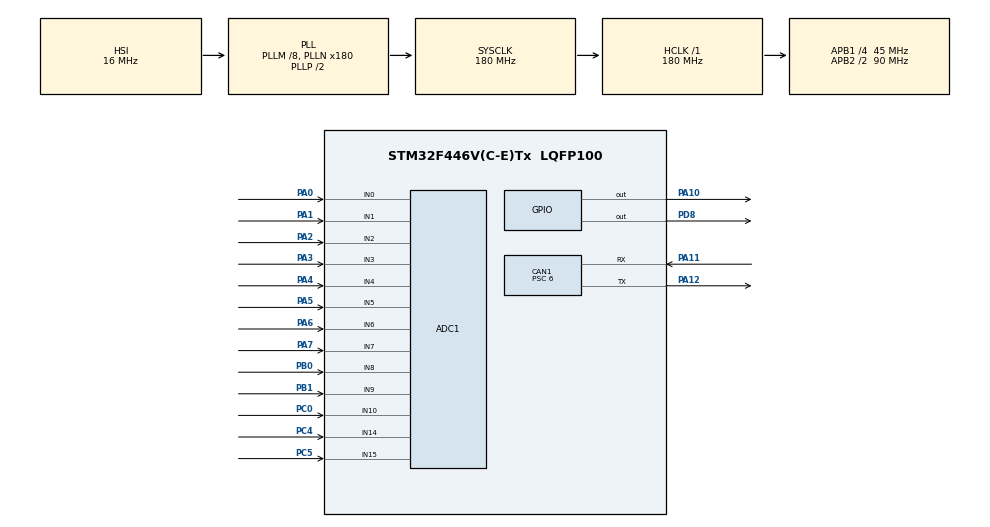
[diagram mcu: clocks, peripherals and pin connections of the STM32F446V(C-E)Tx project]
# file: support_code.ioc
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ADC1.Channel-0\#ChannelRegularConversion=ADC_CHANNEL_0
ADC1.Channel-1\#ChannelRegularConversion=ADC_CHANNEL_1
ADC1.Channel-10\#ChannelRegularConversion=ADC_CHANNEL_8
ADC1.Channel-11\#ChannelRegularConversion=ADC_CHANNEL_9
ADC1.Channel-12\#ChannelRegularConversion=ADC_CHANNEL_10
ADC1.Channel-2\#ChannelRegularConversion=ADC_CHANNEL_2
ADC1.Channel-3\#ChannelRegularConversion=ADC_CHANNEL_3
ADC1.Channel-4\#ChannelRegularConversion=ADC_CHANNEL_4
ADC1.Channel-5\#ChannelRegularConversion=ADC_CHANNEL_5
ADC1.Channel-6\#ChannelRegularConversion=ADC_CHANNEL_6
ADC1.Channel-7\#ChannelRegularConversion=ADC_CHANNEL_7
ADC1.Channel-8\#ChannelRegularConversion=ADC_CHANNEL_14
ADC1.Channel-9\#ChannelRegularConversion=ADC_CHANNEL_15
ADC1.ContinuousConvMode=ENABLE
ADC1.DMAContinuousRequests=ENABLE
ADC1.DiscontinuousConvMode=DISABLE
ADC1.EOCSelection=ADC_EOC_SEQ_CONV
ADC1.NbrOfConversion=13
ADC1.NbrOfConversionFlag=1
ADC1.Rank-0\#ChannelRegularConversion=1
ADC1.Rank-1\#ChannelRegularConversion=2
ADC1.Rank-10\#ChannelRegularConversion=11
ADC1.Rank-11\#ChannelRegularConversion=12
ADC1.Rank-12\#ChannelRegularConversion=13
ADC1.Rank-2\#ChannelRegularConversion=3
ADC1.Rank-3\#ChannelRegularConversion=4
ADC1.Rank-4\#ChannelRegularConversion=5
ADC1.Rank-5\#ChannelRegularConversion=6
ADC1.Rank-6\#ChannelRegularConversion=7
ADC1.Rank-7\#ChannelRegularConversion=8
ADC1.Rank-8\#ChannelRegularConversion=9
ADC1.Rank-9\#ChannelRegularConversion=10
ADC1.SamplingTime-0\#ChannelRegularConversion=ADC_SAMPLETIME_144CYCLES
ADC1.SamplingTime-1\#ChannelRegularConversion=ADC_SAMPLETIME_144CYCLES
ADC1.SamplingTime-10\#ChannelRegularConversion=ADC_SAMPLETIME_144CYCLES
ADC1.SamplingTime-11\#ChannelRegularConversion=ADC_SAMPLETIME_144CYCLES
ADC1.SamplingTime-12\#ChannelRegularConversion=ADC_SAMPLETIME_144CYCLES
ADC1.SamplingTime-2\#ChannelRegularConversion=ADC_SAMPLETIME_144CYCLES
ADC1.SamplingTime-3\#ChannelRegularConversion=ADC_SAMPLETIME_144CYCLES
ADC1.SamplingTime-4\#ChannelRegularConversion=ADC_SAMPLETIME_144CYCLES
ADC1.SamplingTime-5\#ChannelRegularConversion=ADC_SAMPLETIME_144CYCLES
ADC1.SamplingTime-6\#ChannelRegularConversion=ADC_SAMPLETIME_144CYCLES
ADC1.SamplingTime-7\#ChannelRegularConversion=ADC_SAMPLETIME_144CYCLES
ADC1.SamplingTime-8\#ChannelRegularConversion=ADC_SAMPLETIME_144CYCLES
ADC1.SamplingTime-9\#ChannelRegularConversion=ADC_SAMPLETIME_144CYCLES
ADC1.ScanConvMode=ENABLE
ADC1.master=1
CAN1.BS1=CAN_BS1_12TQ
CAN1.BS2=CAN_BS2_2TQ
CAN1.CalculateBaudRate=500000
CAN1.CalculateTimeBit=1999
CAN1.CalculateTimeQuantum=133.33333333333331
CAN1.Prescaler=6
Dma.ADC1.0.Direction=DMA_PERIPH_TO_MEMORY
Dma.ADC1.0.FIFOMode=DMA_FIFOMODE_DISABLE
Dma.ADC1.0.Instance=DMA2_Stream0
Dma.ADC1.0.MemDataAlignment=DMA_MDATAALIGN_HALFWORD
Dma.ADC1.0.MemInc=DMA_MINC_ENABLE
Dma.ADC1.0.Mode=DMA_CIRCULAR
Dma.ADC1.0.PeriphDataAlignment=DMA_PDATAALIGN_HALFWORD
Dma.ADC1.0.PeriphInc=DMA_PINC_DISABLE
Dma.ADC1.0.Priority=DMA_PRIORITY_LOW
Dma.Request0=ADC1
Mcu.Family=STM32F4
Mcu.Name=STM32F446V(C-E)Tx
Mcu.Package=LQFP100
NVIC.DMA2_Stream0_IRQn=true\:0\:0\:false\:false\:true\:false\:true\:true
NVIC.PriorityGroup=NVIC_PRIORITYGROUP_4
PA0-WKUP.Signal=ADCx_IN0
PA1.Signal=ADCx_IN1
PA10.Signal=GPIO_Output
PA11.Mode=CAN_Activate
PA11.Signal=CAN1_RX
PA12.Mode=CAN_Activate
PA12.Signal=CAN1_TX
PA13.Mode=JTAG_4_pins
PA13.Signal=SYS_JTMS-SWDIO
PA14.Mode=JTAG_4_pins
PA14.Signal=SYS_JTCK-SWCLK
PA15.Mode=JTAG_4_pins
PA15.Signal=SYS_JTDI
PA2.Signal=ADCx_IN2
PA3.Signal=ADCx_IN3
PA4.Signal=ADCx_IN4
PA5.Signal=ADCx_IN5
PA6.Signal=ADCx_IN6
PA7.Signal=ADCx_IN7
PB0.Signal=ADCx_IN8
PB1.Signal=ADCx_IN9
PB3.Mode=JTAG_4_pins
PB3.Signal=SYS_JTDO-SWO
PC0.Signal=ADCx_IN10
PC4.Signal=ADCx_IN14
PC5.Signal=ADCx_IN15
PD8.Signal=GPIO_Output
ProjectManager.HeapSize=0x200
ProjectManager.StackSize=0x400
ProjectManager.TargetToolchain=STM32CubeIDE
RCC.AHBFreq_Value=180000000
RCC.APB1CLKDivider=RCC_HCLK_DIV4
RCC.APB1Freq_Value=45000000
RCC.APB1TimFreq_Value=90000000
RCC.APB2CLKDivider=RCC_HCLK_DIV2
RCC.APB2Freq_Value=90000000
RCC.APB2TimFreq_Value=180000000
RCC.CortexFreq_Value=180000000
RCC.HCLKFreq_Value=180000000
RCC.PLLM=8
RCC.PLLN=180
RCC.SYSCLKFreq_VALUE=180000000
RCC.SYSCLKSource=RCC_SYSCLKSOURCE_PLLCLK
RCC.USBFreq_Value=180000000
RCC.VCOOutputFreq_Value=360000000
SH.ADCx_IN0.0=ADC1_IN0,IN0
SH.ADCx_IN1.0=ADC1_IN1,IN1
SH.ADCx_IN10.0=ADC1_IN10,IN10
SH.ADCx_IN14.0=ADC1_IN14,IN14
SH.ADCx_IN15.0=ADC1_IN15,IN15
SH.ADCx_IN2.0=ADC1_IN2,IN2
SH.ADCx_IN3.0=ADC1_IN3,IN3
SH.ADCx_IN4.0=ADC1_IN4,IN4
SH.ADCx_IN5.0=ADC1_IN5,IN5
SH.ADCx_IN6.0=ADC1_IN6,IN6
SH.ADCx_IN7.0=ADC1_IN7,IN7
SH.ADCx_IN8.0=ADC1_IN8,IN8
SH.ADCx_IN9.0=ADC1_IN9,IN9
board=custom

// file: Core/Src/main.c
/* USER CODE BEGIN Header */
/**
  ******************************************************************************
  * @file           : main.c
  * @brief          : Main program body
  ******************************************************************************
  * @attention
  *
  * Copyright (c) 2026 STMicroelectronics.
  * All rights reserved.
  *
  * This software is licensed under terms that can be found in the LICENSE file
  * in the root directory of this software component.
  * If no LICENSE file comes with this software, it is provided AS-IS.
  *
  ******************************************************************************
  */
/* USER CODE END Header */
#include "main.h"

ADC_HandleTypeDef hadc1;
DMA_HandleTypeDef hdma_adc1;

CAN_HandleTypeDef hcan1;

/* USER CODE BEGIN PV */
#define NTC_CHANNELS   13     // physical channel count per board
#define BOARD_ID       0      // 0-5, UNIQUE per board, sets CAN ID offset

/* NTC divider + ADC physical constants (R1=NTC->3.3V, R2=10k->GND) */
#define R25         10000.0f  // NTC resistance at 25C
#define BETA        3950.0f   // NTC beta coefficient
#define T25_K       298.15f   // 25C in Kelvin
#define R_FIXED     10000.0f  // fixed reference resistor (R2)
#define VREF        3.3f      // ADC reference voltage
#define ADC_MAX     4095.0f   // 12-bit ADC full scale

/*Global variables */
volatile uint16_t adc_vals[NTC_CHANNELS];
volatile int16_t temp_buffer_A[NTC_CHANNELS];   // ISR writes here (raw ADC counts)
volatile int16_t temp_buffer_B[NTC_CHANNELS];   // main loop's private snapshot

volatile uint16_t OT_TRIP_RAW       = 3155;  // over-temp trip threshold (raw ADC count)
volatile uint16_t OT_CLEAR_RAW      = 2854;  // over-temp hysteresis clear threshold
volatile uint16_t SENSOR_SHORT_RAW  = 50;    // near-0V -> open NTC / broken wire
volatile uint16_t SENSOR_OPEN_RAW   = 4045;  // near-3.3V -> shorted NTC / broken ref resistor

volatile uint8_t OT_DEBOUNCE_N     = 5;
volatile uint8_t SENSOR_DEBOUNCE_N = 1;

typedef enum {
    FAULT_NONE = 0,
    FAULT_OVERTEMP,
    FAULT_SENSOR_SHORT,   // reads near 0V
    FAULT_SENSOR_OPEN,    // reads near 3.3V
} fault_type_t;

volatile fault_type_t fault_latched_type[NTC_CHANNELS];  // latched fault, if any, per channel
volatile uint8_t      fault_debounce_count[NTC_CHANNELS]; // consecutive-sample counter, shared

#define FAULT_GPIO_Port   GPIOB
#define FAULT_GPIO_Pin    GPIO_PIN_0

/* USER CODE END PV */

void SystemClock_Config(void);
static void MX_GPIO_Init(void);
static void MX_DMA_Init(void);
static void MX_ADC1_Init(void);
static void MX_CAN1_Init(void);

/* USER CODE BEGIN 0 */

HAL_StatusTypeDef CAN_SendFault(uint8_t channel, fault_type_t type);

void HAL_ADC_ConvCpltCallback(ADC_HandleTypeDef *hadc)
{
    if (hadc->Instance != ADC1) return;

    for (uint8_t ch = 0; ch < NTC_CHANNELS; ch++)
    {
        uint16_t raw = adc_vals[ch];

        if (raw <= SENSOR_SHORT_RAW)
        {
            if (fault_debounce_count[ch] < SENSOR_DEBOUNCE_N)
                fault_debounce_count[ch]++;

            if (fault_debounce_count[ch] >= SENSOR_DEBOUNCE_N &&
                fault_latched_type[ch] == FAULT_NONE)
            {
                fault_latched_type[ch] = FAULT_SENSOR_SHORT;
                CAN_SendFault(ch, FAULT_SENSOR_SHORT);
            }
        }
        else if (raw >= SENSOR_OPEN_RAW)
        {
            if (fault_debounce_count[ch] < SENSOR_DEBOUNCE_N)
                fault_debounce_count[ch]++;

            if (fault_debounce_count[ch] >= SENSOR_DEBOUNCE_N &&
                fault_latched_type[ch] == FAULT_NONE)
            {
                fault_latched_type[ch] = FAULT_SENSOR_OPEN;
                CAN_SendFault(ch, FAULT_SENSOR_OPEN);
            }
        }
        else if (raw >= OT_TRIP_RAW)
        {
            if (fault_debounce_count[ch] < OT_DEBOUNCE_N)
                fault_debounce_count[ch]++;

            if (fault_debounce_count[ch] >= OT_DEBOUNCE_N &&
                fault_latched_type[ch] == FAULT_NONE)
            {
                fault_latched_type[ch] = FAULT_OVERTEMP;
                CAN_SendFault(ch, FAULT_OVERTEMP);
            }
        }
        else if (raw <= OT_CLEAR_RAW)
        {
            fault_debounce_count[ch] = 0;
        }

        temp_buffer_A[ch] = (int16_t)raw;
    }
}

HAL_StatusTypeDef CAN_SendFault(uint8_t channel, fault_type_t type)
{
    CAN_TxHeaderTypeDef tx_header;
    uint8_t tx_data[8] = {0};
    uint32_t tx_mailbox;

    tx_header.StdId = BOARD_ID;              // 0x000-0x005: dominant arbitration
    tx_header.IDE = CAN_ID_STD;
    tx_header.RTR = CAN_RTR_DATA;
    tx_header.DLC = 8;
    tx_header.TransmitGlobalTime = DISABLE;

    tx_data[0] = channel;                    // which of 13 channels faulted
    tx_data[1] = (uint8_t)type;               // fault type enum value

    if (HAL_CAN_GetTxMailboxesFreeLevel(&hcan1) == 0)
    {
        /* Mailbox full: correctness requirement is to NOT block here.
           TODO: implement retry-pending flag + retry on next cycle,
           rather than silently dropping (flagged as still open). */
        return HAL_ERROR;
    }

    return HAL_CAN_AddTxMessage(&hcan1, &tx_header, tx_data, &tx_mailbox);
}

void Fault_Reset(uint8_t channel)
{
    fault_latched_type[channel] = FAULT_NONE;
    fault_debounce_count[channel] = 0;
    /* No GPIO to manage - master decides all downstream action based on CAN fault frames */
}

static float ADC_ToTemperature(uint16_t adc_count)
{
    float v_out, r_ntc, temp_k;

    /* Guard against divide-by-zero / log(0) at the extremes */
    if (adc_count == 0) adc_count = 1;
    if (adc_count >= (uint16_t)ADC_MAX) adc_count = (uint16_t)ADC_MAX - 1;

    v_out = (adc_count * VREF) / ADC_MAX;

    /* R1 (NTC) -> 3.3V, R2 (fixed) -> GND, ADC reads the divider node:
       Vout = VREF * R2 / (R_ntc + R2)
       Rearranged for R_ntc: R_ntc = R2 * (VREF - Vout) / Vout */
    r_ntc = R_FIXED * (VREF - v_out) / v_out;

    /* Beta equation (simplified Steinhart-Hart) */
    temp_k = 1.0f / ((1.0f / T25_K) + (1.0f / BETA) * logf(r_ntc / R25));

    return temp_k - 273.15f;
}

static int16_t Temp_ToFixedPoint(float temp_c)
{
    float scaled = temp_c * 100.0f;

    if (scaled >= 0.0f)
        return (int16_t)(scaled + 0.5f);
    else
        return (int16_t)(scaled - 0.5f);
}

void Send_Telemetry_Frames(int16_t *raw_snapshot)
{
    CAN_TxHeaderTypeDef tx_header;
    uint8_t tx_data[8];
    uint32_t tx_mailbox;
    int16_t temp_fixed[NTC_CHANNELS];

    /* Convert all 13 raw ADC snapshots to fixed-point degC x100 */
    for (uint8_t i = 0; i < NTC_CHANNELS; i++)
    {
        float temp_c = ADC_ToTemperature((uint16_t)raw_snapshot[i]);
        temp_fixed[i] = Temp_ToFixedPoint(temp_c);
    }

    tx_header.IDE = CAN_ID_STD;
    tx_header.RTR = CAN_RTR_DATA;
    tx_header.TransmitGlobalTime = DISABLE;

    /* Frames 0-2: 4 channels each, big-endian int16 packing */
    for (uint8_t frame = 0; frame < 3; frame++)
    {
        for (uint8_t i = 0; i < 4; i++)
        {
            int16_t val = temp_fixed[frame * 4 + i];
            tx_data[2*i]     = (uint8_t)((val >> 8) & 0xFF);
            tx_data[2*i + 1] = (uint8_t)(val & 0xFF);
        }

        tx_header.StdId = 0x100 + (BOARD_ID * 0x10) + frame;
        tx_header.DLC = 8;

        if (HAL_CAN_GetTxMailboxesFreeLevel(&hcan1) > 0)
            HAL_CAN_AddTxMessage(&hcan1, &tx_header, tx_data, &tx_mailbox);
    }

    /* Frame 3: last channel only */
    {
        int16_t val = temp_fixed[12];
        tx_data[0] = (uint8_t)((val >> 8) & 0xFF);
        tx_data[1] = (uint8_t)(val & 0xFF);

        tx_header.StdId = 0x100 + (BOARD_ID * 0x10) + 3;
        tx_header.DLC = 2;

        if (HAL_CAN_GetTxMailboxesFreeLevel(&hcan1) > 0)
            HAL_CAN_AddTxMessage(&hcan1, &tx_header, tx_data, &tx_mailbox);
    }
}
/* USER CODE END 0 */

int main(void)
{

  /* MCU Configuration--------------------------------------------------------*/

  /* Reset of all peripherals, Initializes the Flash interface and the Systick. */
  HAL_Init();

  /* Configure the system clock */
  SystemClock_Config();

  /* Initialize all configured peripherals */
  MX_GPIO_Init();
  MX_DMA_Init();
  MX_ADC1_Init();
  MX_CAN1_Init();
  /* USER CODE BEGIN 2 */

  uint32_t last_tx_time = 0;

  HAL_ADC_Start_DMA(&hadc1, (uint32_t*)adc_vals, NTC_CHANNELS);

  /* USER CODE END 2 */

  /* Infinite loop */
  while (1)
  {

      if (HAL_GetTick() - last_tx_time >= 100)
      {
          last_tx_time = HAL_GetTick();

          /* Atomic snapshot - shortest possible critical section */
          __disable_irq();
          memcpy((void*)temp_buffer_B, (void*)temp_buffer_A, sizeof(temp_buffer_B));
          __enable_irq();

          /* Convert + pack + transmit telemetry - always, fault or not */
          Send_Telemetry_Frames(temp_buffer_B);
      }

      /* Room for other non-blocking background tasks here later,
         e.g. CAN error/bus-off monitoring, watchdog kick, etc. */

  }
}

void SystemClock_Config(void)
{
  RCC_OscInitTypeDef RCC_OscInitStruct = {0};
  RCC_ClkInitTypeDef RCC_ClkInitStruct = {0};

  /** Configure the main internal regulator output voltage
  */
  __HAL_RCC_PWR_CLK_ENABLE();
  __HAL_PWR_VOLTAGESCALING_CONFIG(PWR_REGULATOR_VOLTAGE_SCALE1);

  /** Initializes the RCC Oscillators according to the specified parameters
  * in the RCC_OscInitTypeDef structure.
  */
  RCC_OscInitStruct.OscillatorType = RCC_OSCILLATORTYPE_HSI;
  RCC_OscInitStruct.HSIState = RCC_HSI_ON;
  RCC_OscInitStruct.HSICalibrationValue = RCC_HSICALIBRATION_DEFAULT;
  RCC_OscInitStruct.PLL.PLLState = RCC_PLL_ON;
  RCC_OscInitStruct.PLL.PLLSource = RCC_PLLSOURCE_HSI;
  RCC_OscInitStruct.PLL.PLLM = 8;
  RCC_OscInitStruct.PLL.PLLN = 180;
  RCC_OscInitStruct.PLL.PLLP = RCC_PLLP_DIV2;
  RCC_OscInitStruct.PLL.PLLQ = 2;
  RCC_OscInitStruct.PLL.PLLR = 2;
  if (HAL_RCC_OscConfig(&RCC_OscInitStruct) != HAL_OK)
  {
    Error_Handler();
  }

  /** Activate the Over-Drive mode
  */
  if (HAL_PWREx_EnableOverDrive() != HAL_OK)
  {
    Error_Handler();
  }

  /** Initializes the CPU, AHB and APB buses clocks
  */
  RCC_ClkInitStruct.ClockType = RCC_CLOCKTYPE_HCLK|RCC_CLOCKTYPE_SYSCLK
                              |RCC_CLOCKTYPE_PCLK1|RCC_CLOCKTYPE_PCLK2;
  RCC_ClkInitStruct.SYSCLKSource = RCC_SYSCLKSOURCE_PLLCLK;
  RCC_ClkInitStruct.AHBCLKDivider = RCC_SYSCLK_DIV1;
  RCC_ClkInitStruct.APB1CLKDivider = RCC_HCLK_DIV4;
  RCC_ClkInitStruct.APB2CLKDivider = RCC_HCLK_DIV2;

  if (HAL_RCC_ClockConfig(&RCC_ClkInitStruct, FLASH_LATENCY_5) != HAL_OK)
  {
    Error_Handler();
  }
}

static void MX_ADC1_Init(void)
{

  ADC_ChannelConfTypeDef sConfig = {0};

  /** Configure the global features of the ADC (Clock, Resolution, Data Alignment and number of conversion)
  */
  hadc1.Instance = ADC1;
  hadc1.Init.ClockPrescaler = ADC_CLOCK_SYNC_PCLK_DIV4;
  hadc1.Init.Resolution = ADC_RESOLUTION_12B;
  hadc1.Init.ScanConvMode = ENABLE;
  hadc1.Init.ContinuousConvMode = ENABLE;
  hadc1.Init.DiscontinuousConvMode = DISABLE;
  hadc1.Init.ExternalTrigConvEdge = ADC_EXTERNALTRIGCONVEDGE_NONE;
  hadc1.Init.ExternalTrigConv = ADC_SOFTWARE_START;
  hadc1.Init.DataAlign = ADC_DATAALIGN_RIGHT;
  hadc1.Init.NbrOfConversion = 13;
  hadc1.Init.DMAContinuousRequests = ENABLE;
  hadc1.Init.EOCSelection = ADC_EOC_SEQ_CONV;
  if (HAL_ADC_Init(&hadc1) != HAL_OK)
  {
    Error_Handler();
  }

  /** Configure for the selected ADC regular channel its corresponding rank in the sequencer and its sample time.
  */
  sConfig.Channel = ADC_CHANNEL_0;
  sConfig.Rank = 1;
  sConfig.SamplingTime = ADC_SAMPLETIME_144CYCLES;
  if (HAL_ADC_ConfigChannel(&hadc1, &sConfig) != HAL_OK)
  {
    Error_Handler();
  }

  /** Configure for the selected ADC regular channel its corresponding rank in the sequencer and its sample time.
  */
  sConfig.Channel = ADC_CHANNEL_1;
  sConfig.Rank = 2;
  if (HAL_ADC_ConfigChannel(&hadc1, &sConfig) != HAL_OK)
  {
    Error_Handler();
  }

  /** Configure for the selected ADC regular channel its corresponding rank in the sequencer and its sample time.
  */
  sConfig.Channel = ADC_CHANNEL_2;
  sConfig.Rank = 3;
  if (HAL_ADC_ConfigChannel(&hadc1, &sConfig) != HAL_OK)
  {
    Error_Handler();
  }

  /** Configure for the selected ADC regular channel its corresponding rank in the sequencer and its sample time.
  */
  sConfig.Channel = ADC_CHANNEL_3;
  sConfig.Rank = 4;
  if (HAL_ADC_ConfigChannel(&hadc1, &sConfig) != HAL_OK)
  {
    Error_Handler();
  }

  /** Configure for the selected ADC regular channel its corresponding rank in the sequencer and its sample time.
  */
  sConfig.Channel = ADC_CHANNEL_4;
  sConfig.Rank = 5;
  if (HAL_ADC_ConfigChannel(&hadc1, &sConfig) != HAL_OK)
  {
    Error_Handler();
  }

  /** Configure for the selected ADC regular channel its corresponding rank in the sequencer and its sample time.
  */
  sConfig.Channel = ADC_CHANNEL_5;
  sConfig.Rank = 6;
  if (HAL_ADC_ConfigChannel(&hadc1, &sConfig) != HAL_OK)
  {
    Error_Handler();
  }

  /** Configure for the selected ADC regular channel its corresponding rank in the sequencer and its sample time.
  */
  sConfig.Channel = ADC_CHANNEL_6;
  sConfig.Rank = 7;
  if (HAL_ADC_ConfigChannel(&hadc1, &sConfig) != HAL_OK)
  {
    Error_Handler();
  }

  /** Configure for the selected ADC regular channel its corresponding rank in the sequencer and its sample time.
  */
  sConfig.Channel = ADC_CHANNEL_7;
  sConfig.Rank = 8;
  if (HAL_ADC_ConfigChannel(&hadc1, &sConfig) != HAL_OK)
  {
    Error_Handler();
  }

  /** Configure for the selected ADC regular channel its corresponding rank in the sequencer and its sample time.
  */
  sConfig.Channel = ADC_CHANNEL_14;
  sConfig.Rank = 9;
  if (HAL_ADC_ConfigChannel(&hadc1, &sConfig) != HAL_OK)
  {
    Error_Handler();
  }

  /** Configure for the selected ADC regular channel its corresponding rank in the sequencer and its sample time.
  */
  sConfig.Channel = ADC_CHANNEL_15;
  sConfig.Rank = 10;
  if (HAL_ADC_ConfigChannel(&hadc1, &sConfig) != HAL_OK)
  {
    Error_Handler();
  }

  /** Configure for the selected ADC regular channel its corresponding rank in the sequencer and its sample time.
  */
  sConfig.Channel = ADC_CHANNEL_8;
  sConfig.Rank = 11;
  if (HAL_ADC_ConfigChannel(&hadc1, &sConfig) != HAL_OK)
  {
    Error_Handler();
  }

  /** Configure for the selected ADC regular channel its corresponding rank in the sequencer and its sample time.
  */
  sConfig.Channel = ADC_CHANNEL_9;
  sConfig.Rank = 12;
  if (HAL_ADC_ConfigChannel(&hadc1, &sConfig) != HAL_OK)
  {
    Error_Handler();
  }

  /** Configure for the selected ADC regular channel its corresponding rank in the sequencer and its sample time.
  */
  sConfig.Channel = ADC_CHANNEL_10;
  sConfig.Rank = 13;
  if (HAL_ADC_ConfigChannel(&hadc1, &sConfig) != HAL_OK)
  {
    Error_Handler();
  }

}

static void MX_CAN1_Init(void)
{

  hcan1.Instance = CAN1;
  hcan1.Init.Prescaler = 6;
  hcan1.Init.Mode = CAN_MODE_NORMAL;
  hcan1.Init.SyncJumpWidth = CAN_SJW_1TQ;
  hcan1.Init.TimeSeg1 = CAN_BS1_12TQ;
  hcan1.Init.TimeSeg2 = CAN_BS2_2TQ;
  hcan1.Init.TimeTriggeredMode = DISABLE;
  hcan1.Init.AutoBusOff = DISABLE;
  hcan1.Init.AutoWakeUp = DISABLE;
  hcan1.Init.AutoRetransmission = DISABLE;
  hcan1.Init.ReceiveFifoLocked = DISABLE;
  hcan1.Init.TransmitFifoPriority = DISABLE;
  if (HAL_CAN_Init(&hcan1) != HAL_OK)
  {
    Error_Handler();
  }

}

static void MX_DMA_Init(void)
{

  /* DMA controller clock enable */
  __HAL_RCC_DMA2_CLK_ENABLE();

  /* DMA interrupt init */
  /* DMA2_Stream0_IRQn interrupt configuration */
  HAL_NVIC_SetPriority(DMA2_Stream0_IRQn, 0, 0);
  HAL_NVIC_EnableIRQ(DMA2_Stream0_IRQn);

}

static void MX_GPIO_Init(void)
{
  GPIO_InitTypeDef GPIO_InitStruct = {0};

  /* GPIO Ports Clock Enable */
  __HAL_RCC_GPIOC_CLK_ENABLE();
  __HAL_RCC_GPIOA_CLK_ENABLE();
  __HAL_RCC_GPIOB_CLK_ENABLE();
  __HAL_RCC_GPIOD_CLK_ENABLE();

  /*Configure GPIO pin Output Level */
  HAL_GPIO_WritePin(GPIOD, GPIO_PIN_8, GPIO_PIN_RESET);

  /*Configure GPIO pin Output Level */
  HAL_GPIO_WritePin(GPIOA, GPIO_PIN_10, GPIO_PIN_RESET);

  /*Configure GPIO pin : PD8 */
  GPIO_InitStruct.Pin = GPIO_PIN_8;
  GPIO_InitStruct.Mode = GPIO_MODE_OUTPUT_PP;
  GPIO_InitStruct.Pull = GPIO_NOPULL;
  GPIO_InitStruct.Speed = GPIO_SPEED_FREQ_LOW;
  HAL_GPIO_Init(GPIOD, &GPIO_InitStruct);

  /*Configure GPIO pin : PA10 */
  GPIO_InitStruct.Pin = GPIO_PIN_10;
  GPIO_InitStruct.Mode = GPIO_MODE_OUTPUT_PP;
  GPIO_InitStruct.Pull = GPIO_NOPULL;
  GPIO_InitStruct.Speed = GPIO_SPEED_FREQ_LOW;
  HAL_GPIO_Init(GPIOA, &GPIO_InitStruct);

}

void Error_Handler(void)
{
  __disable_irq();
  while (1)
  {
  }
}
